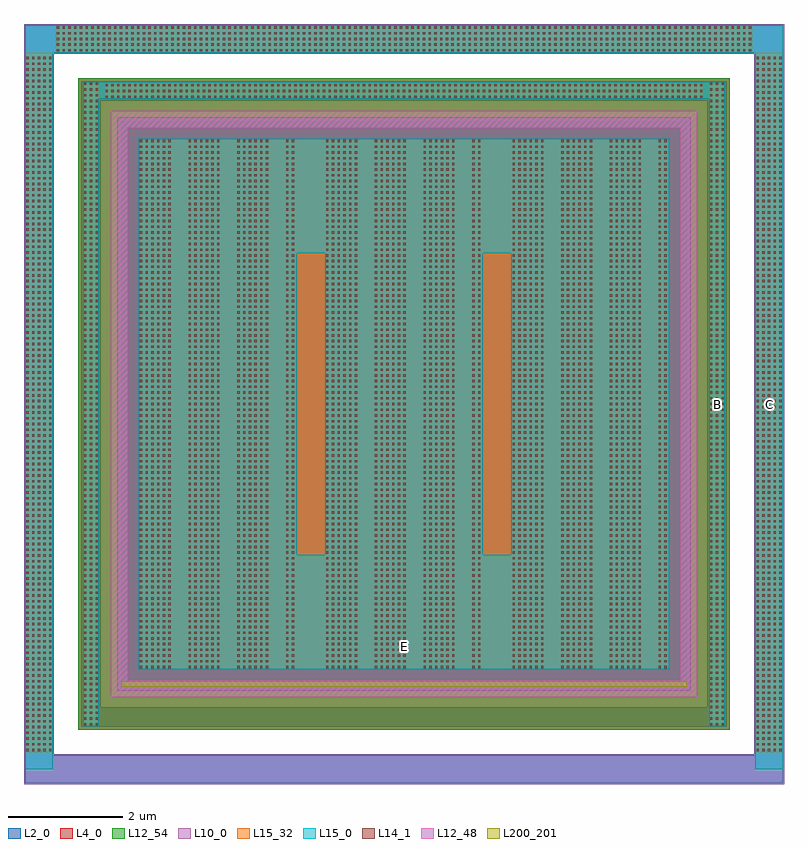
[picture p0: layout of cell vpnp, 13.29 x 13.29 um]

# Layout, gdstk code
import gdstk
lib = gdstk.Library(unit=1e-6, precision=1e-09)
def R(c, l, rs):  # rectangles x0, y0, x1, y1
    for r in rs: c.add(gdstk.rectangle(r[:2], r[2:], *l))
def A(c, l, x, y, w, h, nx, ny, dx, dy):  # array of equal rectangles
    R(c, l, [(x+i*dx, y+j*dy, x+i*dx+w, y+j*dy+h) for i in range(nx) for j in range(ny)])
L2_0 = (2, 0)
L4_0 = (4, 0)
L10_0 = (10, 0)
L12_48 = (12, 48)
L12_54 = (12, 54)
L14_1 = (14, 1)
L15_0 = (15, 0)
L15_32 = (15, 32)
L200_201 = (200, 201)

vpnp = lib.new_cell('vpnp')
R(vpnp, L2_0, [(-13.129,-5.159,0.123,-4.679), (-13.129,-4.679,-12.649,7.613), (-0.357,-4.679,0.123,7.613), (-12.149,-4.179,-0.857,-3.839), (-12.149,-3.839,-11.809,6.773), (-1.197,-3.839,-0.857,6.773), (-11.453,-3.483,-1.553,6.417), (-12.149,6.773,-0.857,7.113), (-13.129,7.613,0.123,8.093)])
R(vpnp, L4_0, [(-12.205,-4.235,-0.801,7.169)])
R(vpnp, L10_0, [(-13.15,-5.18,0.144,-4.658), (-13.15,-4.658,-12.628,7.592), (-0.378,-4.658,0.144,7.592), (-11.523,-3.553,-1.483,6.487), (-13.15,7.592,0.144,8.114)])
R(vpnp, L12_48, [(-11.634,-3.664,-1.372,-3.358), (-11.634,-3.358,-11.328,6.292), (-1.678,-3.358,-1.372,6.292), (-11.634,6.292,-1.372,6.598)])
R(vpnp, L12_54, [(-12.205,-4.235,-0.801,7.169)])
A(vpnp, L14_1, -13.109, -4.603, 0.04, 0.04, 5, 122, 0.1, 0.1)
A(vpnp, L14_1, -0.337, -4.603, 0.04, 0.04, 5, 122, 0.1, 0.1)
A(vpnp, L14_1, -12.099, -4.153, 0.04, 0.04, 3, 113, 0.1, 0.1)
A(vpnp, L14_1, -1.147, -4.153, 0.04, 0.04, 3, 113, 0.1, 0.1)
A(vpnp, L14_1, -11.123, -3.153, 0.04, 0.04, 6, 93, 0.1, 0.1)
A(vpnp, L14_1, -10.271, -3.153, 0.04, 0.04, 6, 93, 0.1, 0.1)
A(vpnp, L14_1, -9.419, -3.153, 0.04, 0.04, 6, 93, 0.1, 0.1)
A(vpnp, L14_1, -8.567, -3.153, 0.04, 0.04, 1, 93, 0, 0.1)
A(vpnp, L14_1, -8.467, -3.153, 0.04, 0.04, 1, 93, 0, 0.1)
A(vpnp, L14_1, -7.864, -3.153, 0.04, 0.04, 6, 93, 0.1, 0.1)
A(vpnp, L14_1, -7.012, -3.153, 0.04, 0.04, 6, 93, 0.1, 0.1)
A(vpnp, L14_1, -6.16, -3.153, 0.04, 0.04, 6, 93, 0.1, 0.1)
A(vpnp, L14_1, -5.308, -3.153, 0.04, 0.04, 1, 93, 0, 0.1)
A(vpnp, L14_1, -5.208, -3.153, 0.04, 0.04, 1, 93, 0, 0.1)
A(vpnp, L14_1, -4.605, -3.153, 0.04, 0.04, 6, 93, 0.1, 0.1)
A(vpnp, L14_1, -3.753, -3.153, 0.04, 0.04, 6, 93, 0.1, 0.1)
A(vpnp, L14_1, -2.901, -3.153, 0.04, 0.04, 6, 93, 0.1, 0.1)
A(vpnp, L14_1, -2.049, -3.153, 0.04, 0.04, 1, 93, 0, 0.1)
A(vpnp, L14_1, -1.949, -3.153, 0.04, 0.04, 1, 93, 0, 0.1)
A(vpnp, L14_1, -11.723, 6.823, 0.04, 0.04, 105, 3, 0.1, 0.1)
A(vpnp, L14_1, -12.573, 7.633, 0.04, 0.04, 122, 5, 0.1, 0.1)
A(vpnp, L15_0, -11.141, -1.171, 2.758, 5.276, 3, 1, 3.259, 0)
R(vpnp, L15_0, [(-13.127,-4.919,-12.651,8.091), (-0.355,-4.919,0.121,8.091), (-12.117,-4.171,-11.841,7.105), (-1.165,-4.171,-0.889,7.105), (-11.141,-3.171,-1.865,-1.171), (-11.141,4.105,-1.865,6.105), (-11.841,6.805,-1.165,7.105), (-12.651,7.615,-0.355,8.091)])
R(vpnp, L15_32, [(-13.127,-4.621,-12.651,7.615), (-0.355,-4.621,0.121,7.615), (-12.117,-4.171,-11.841,7.105), (-1.165,-4.171,-0.889,7.105), (-11.141,-3.171,-1.865,6.105), (-11.741,6.805,-1.265,7.081), (-12.591,7.615,-0.415,8.091)])
R(vpnp, L200_201, [(-11.453,-3.483,-1.553,-3.383)])
vpnp.add(gdstk.Label('E', (-6.503,-2.783), layer=15, texttype=20))
vpnp.add(gdstk.Label('B', (-1.027,1.467), layer=15, texttype=20))
vpnp.add(gdstk.Label('C', (-0.117,1.467), layer=15, texttype=20))

lib.write_gds('vpnp.gds')
